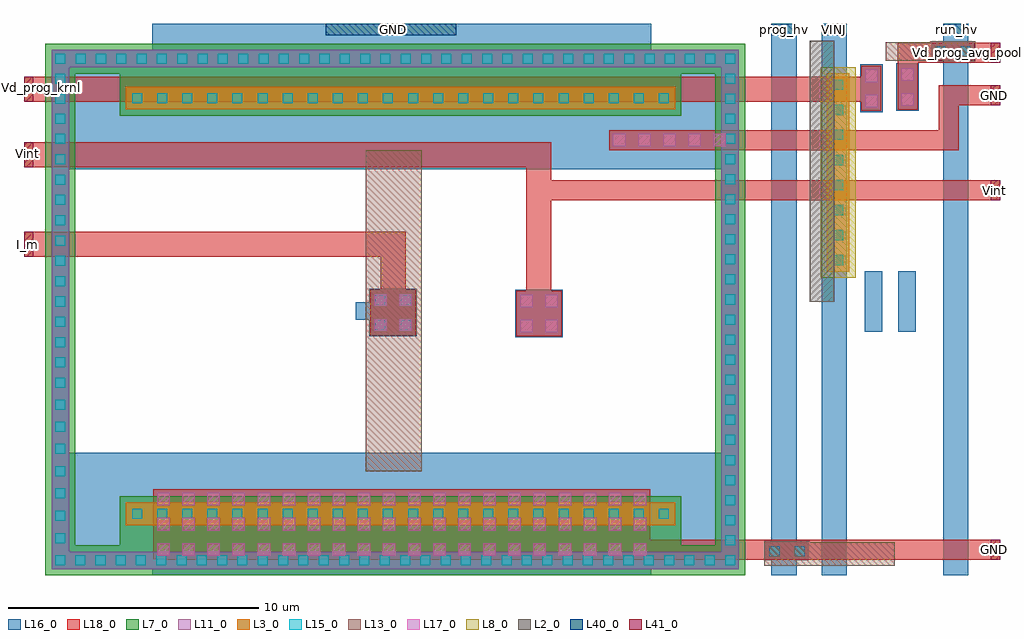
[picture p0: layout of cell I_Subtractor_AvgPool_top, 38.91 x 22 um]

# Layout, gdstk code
from math import pi, radians
import gdstk
lib = gdstk.Library(unit=1e-6, precision=1e-09)
def R(c, l, rs):  # rectangles x0, y0, x1, y1
    for r in rs: c.add(gdstk.rectangle(r[:2], r[2:], *l))
def A(c, l, x, y, w, h, nx, ny, dx, dy):  # array of equal rectangles
    R(c, l, [(x+i*dx, y+j*dy, x+i*dx+w, y+j*dy+h) for i in range(nx) for j in range(ny)])
L2_0 = (2, 0)
L3_0 = (3, 0)
L7_0 = (7, 0)
L8_0 = (8, 0)
L11_0 = (11, 0)
L13_0 = (13, 0)
L15_0 = (15, 0)
L16_0 = (16, 0)
L17_0 = (17, 0)
L18_0 = (18, 0)
L40_0 = (40, 0)
L41_0 = (41, 0)

m1_poly1_cdns_7618696311 = lib.new_cell('M1_POLY1_CDNS_761869631140')
R(m1_poly1_cdns_7618696311, L13_0, [(-0.9,-0.9,0.9,0.9)])
R(m1_poly1_cdns_7618696311, L15_0, [(-0.7,-0.7,-0.3,-0.3), (0.3,-0.7,0.7,-0.3), (-0.7,0.3,-0.3,0.7), (0.3,0.3,0.7,0.7)])
R(m1_poly1_cdns_7618696311, L16_0, [(-0.85,-0.85,0.85,0.85)])

m2_m1_cdns_761869631141 = lib.new_cell('M2_M1_CDNS_761869631141')
R(m2_m1_cdns_761869631141, L16_0, [(-0.95,-0.95,0.95,0.95)])
R(m2_m1_cdns_761869631141, L17_0, [(-0.75,-0.75,-0.25,-0.25), (0.25,-0.75,0.75,-0.25), (-0.75,0.25,-0.25,0.75), (0.25,0.25,0.75,0.75)])
R(m2_m1_cdns_761869631141, L18_0, [(-0.9,-0.9,0.9,0.9)])

c_m1_poly1_cdns_7618696311 = lib.new_cell('M1_POLY1_CDNS_761869631142')
R(c_m1_poly1_cdns_7618696311, L13_0, [(-0.9,-0.4,0.9,0.4)])
R(c_m1_poly1_cdns_7618696311, L15_0, [(-0.7,-0.2,-0.3,0.2), (0.3,-0.2,0.7,0.2)])
R(c_m1_poly1_cdns_7618696311, L16_0, [(-0.85,-0.35,0.85,0.35)])

m1_pactive_cdns_76186963 = lib.new_cell('M1_PACTIVE_CDNS_761869631143')
R(m1_pactive_cdns_76186963, L3_0, [(-10.95,-0.45,10.95,0.45)])
R(m1_pactive_cdns_76186963, L7_0, [(-11.2,-0.7,11.2,0.7)])
A(m1_pactive_cdns_76186963, L15_0, -10.7, -0.2, 0.4, 0.4, 22, 1, 1, 0)
R(m1_pactive_cdns_76186963, L16_0, [(-10.85,-0.35,10.85,0.35)])

m2_m1_cdns_761869631144 = lib.new_cell('M2_M1_CDNS_761869631144')
R(m2_m1_cdns_761869631144, L16_0, [(-0.45,-0.95,0.45,0.95)])
R(m2_m1_cdns_761869631144, L17_0, [(-0.25,-0.75,0.25,-0.25), (-0.25,0.25,0.25,0.75)])
R(m2_m1_cdns_761869631144, L18_0, [(-0.4,-0.9,0.4,0.9)])

m1_nactive_cdns_76186963 = lib.new_cell('M1_NACTIVE_CDNS_761869631145')
R(m1_nactive_cdns_76186963, L3_0, [(-0.45,-3.95,0.45,3.95)])
R(m1_nactive_cdns_76186963, L8_0, [(-0.7,-4.2,0.7,4.2)])
A(m1_nactive_cdns_76186963, L15_0, -0.2, -3.7, 0.4, 0.4, 1, 8, 0, 1)
R(m1_nactive_cdns_76186963, L16_0, [(-0.35,-3.85,0.35,3.85)])

m2_m1_cdns_761869631146 = lib.new_cell('M2_M1_CDNS_761869631146')
R(m2_m1_cdns_761869631146, L16_0, [(-2.45,-0.45,2.45,0.45)])
A(m2_m1_cdns_761869631146, L17_0, -2.25, -0.25, 0.5, 0.5, 5, 1, 1, 0)
R(m2_m1_cdns_761869631146, L18_0, [(-2.4,-0.4,2.4,0.4)])

m2_m1_cdns_761869631147 = lib.new_cell('M2_M1_CDNS_761869631147')
R(m2_m1_cdns_761869631147, L16_0, [(-9.95,-1.45,9.95,1.45)])
A(m2_m1_cdns_761869631147, L17_0, -9.75, -1.25, 0.5, 0.5, 20, 3, 1, 1)
R(m2_m1_cdns_761869631147, L18_0, [(-9.9,-1.4,9.9,1.4)])

i_subtractor_avgpool_top = lib.new_cell('I_Subtractor_AvgPool_top')
R(i_subtractor_avgpool_top, L2_0, [(31.32,10.92,32.31,21.32)])
R(i_subtractor_avgpool_top, L7_0, [(3.81,1.2,26.21,1.76), (3.81,19.73,26.21,20), (3.81,19.73,26.21,20)])
R(i_subtractor_avgpool_top, L13_0, [(29.52,0.38,34.71,1.32), (13.63,4.15,14.82,16.95), (14.82,4.15,15.85,16.95), (34.36,20.52,37.78,21.25)])
R(i_subtractor_avgpool_top, L15_0, [(1.25,0.4,1.65,0.8), (1.25,0.4,1.65,0.8), (2.05,0.4,2.45,0.8), (2.05,0.4,2.45,0.8), (2.85,0.4,3.25,0.8), (2.85,0.4,3.25,0.8), (3.65,0.4,4.05,0.8), (3.65,0.4,4.05,0.8), (4.46,0.4,4.86,0.8), (4.46,0.4,4.86,0.8), (5.27,0.4,5.67,0.8), (5.27,0.4,5.67,0.8), (6.08,0.4,6.48,0.8), (6.08,0.4,6.48,0.8), (6.89,0.4,7.29,0.8), (6.89,0.4,7.29,0.8), (7.7,0.4,8.1,0.8), (7.7,0.4,8.1,0.8), (8.51,0.4,8.91,0.8), (8.51,0.4,8.91,0.8), (9.32,0.4,9.72,0.8), (9.32,0.4,9.72,0.8), (10.13,0.4,10.53,0.8), (10.13,0.4,10.53,0.8), (10.94,0.4,11.34,0.8), (10.94,0.4,11.34,0.8), (11.75,0.4,12.15,0.8), (11.75,0.4,12.15,0.8), (12.56,0.4,12.96,0.8), (12.56,0.4,12.96,0.8), (13.37,0.4,13.77,0.8), (13.37,0.4,13.77,0.8), (14.18,0.4,14.58,0.8), (14.18,0.4,14.58,0.8), (14.99,0.4,15.39,0.8), (14.99,0.4,15.39,0.8), (15.8,0.4,16.2,0.8), (15.8,0.4,16.2,0.8), (16.61,0.4,17.01,0.8), (16.61,0.4,17.01,0.8), (17.42,0.4,17.82,0.8), (17.42,0.4,17.82,0.8), (18.23,0.4,18.63,0.8), (18.23,0.4,18.63,0.8), (19.04,0.4,19.44,0.8), (19.04,0.4,19.44,0.8), (19.85,0.4,20.25,0.8), (19.85,0.4,20.25,0.8), (20.66,0.4,21.06,0.8), (20.66,0.4,21.06,0.8), (21.47,0.4,21.87,0.8), (21.47,0.4,21.87,0.8), (22.28,0.4,22.68,0.8), (22.28,0.4,22.68,0.8), (23.09,0.4,23.49,0.8), (23.09,0.4,23.49,0.8), (23.9,0.4,24.3,0.8), (23.9,0.4,24.3,0.8), (24.71,0.4,25.11,0.8), (24.71,0.4,25.11,0.8), (25.52,0.4,25.92,0.8), (25.52,0.4,25.92,0.8), (26.33,0.4,26.73,0.8), (26.33,0.4,26.73,0.8), (27.14,0.4,27.54,0.8), (27.14,0.4,27.54,0.8), (27.95,0.4,28.35,0.8), (27.95,0.4,28.35,0.8), (27.95,1.2,28.35,1.6), (27.95,1.2,28.35,1.6), (1.25,1.29,1.65,1.69), (1.25,1.29,1.65,1.69), (27.95,2,28.35,2.4), (27.95,2,28.35,2.4), (1.25,2.18,1.65,2.58), (1.25,2.18,1.65,2.58), (27.95,2.8,28.35,3.2), (27.95,2.8,28.35,3.2), (1.25,3.07,1.65,3.47), (1.25,3.07,1.65,3.47), (27.95,3.6,28.35,4), (27.95,3.6,28.35,4), (1.25,3.96,1.65,4.36), (1.25,3.96,1.65,4.36), (27.95,4.4,28.35,4.8), (27.95,4.4,28.35,4.8), (1.25,4.85,1.65,5.25), (1.25,4.85,1.65,5.25), (27.95,5.2,28.35,5.6), (27.95,5.2,28.35,5.6), (1.25,5.73,1.65,6.13), (1.25,5.73,1.65,6.13), (27.95,6,28.35,6.4), (27.95,6,28.35,6.4), (1.25,6.61,1.65,7.01), (1.25,6.61,1.65,7.01), (27.95,6.8,28.35,7.2), (27.95,6.8,28.35,7.2), (1.25,7.49,1.65,7.89), (1.25,7.49,1.65,7.89), (27.95,7.6,28.35,8), (27.95,7.6,28.35,8), (1.25,8.29,1.65,8.69), (1.25,8.29,1.65,8.69), (27.95,8.4,28.35,8.8), (27.95,8.4,28.35,8.8), (1.25,9.1,1.65,9.5), (1.25,9.1,1.65,9.5), (27.95,9.2,28.35,9.6), (27.95,9.2,28.35,9.6), (1.25,9.91,1.65,10.31), (1.25,9.91,1.65,10.31), (27.95,10,28.35,10.4), (27.95,10,28.35,10.4), (1.25,10.72,1.65,11.12), (1.25,10.72,1.65,11.12), (27.95,10.8,28.35,11.2), (27.95,10.8,28.35,11.2), (1.25,11.53,1.65,11.93), (1.25,11.53,1.65,11.93), (27.95,11.6,28.35,12), (27.95,11.6,28.35,12), (1.25,12.34,1.65,12.74), (1.25,12.34,1.65,12.74), (27.95,12.4,28.35,12.8), (27.95,12.4,28.35,12.8), (1.25,13.15,1.65,13.55), (1.25,13.15,1.65,13.55), (27.95,13.2,28.35,13.6), (27.95,13.2,28.35,13.6), (1.25,13.96,1.65,14.36), (1.25,13.96,1.65,14.36), (27.95,14,28.35,14.4), (27.95,14,28.35,14.4), (1.25,14.77,1.65,15.17), (1.25,14.77,1.65,15.17), (27.95,14.8,28.35,15.2), (27.95,14.8,28.35,15.2), (1.25,15.58,1.65,15.98), (1.25,15.58,1.65,15.98), (27.95,15.6,28.35,16), (27.95,15.6,28.35,16), (1.25,16.39,1.65,16.79), (1.25,16.39,1.65,16.79), (27.95,16.4,28.35,16.8), (27.95,16.4,28.35,16.8), (1.25,17.2,1.65,17.6), (1.25,17.2,1.65,17.6), (27.95,17.2,28.35,17.6), (27.95,17.2,28.35,17.6), (1.25,18,1.65,18.4), (1.25,18,1.65,18.4), (27.95,18,28.35,18.4), (27.95,18,28.35,18.4), (1.25,18.8,1.65,19.2), (1.25,18.8,1.65,19.2), (27.95,18.8,28.35,19.2), (27.95,18.8,28.35,19.2), (1.25,19.6,1.65,20), (1.25,19.6,1.65,20), (27.95,19.6,28.35,20), (27.95,19.6,28.35,20), (1.25,20.4,1.65,20.8), (1.25,20.4,1.65,20.8), (2.06,20.4,2.46,20.8), (2.06,20.4,2.46,20.8), (2.87,20.4,3.27,20.8), (2.87,20.4,3.27,20.8), (3.68,20.4,4.08,20.8), (3.68,20.4,4.08,20.8), (4.49,20.4,4.89,20.8), (4.49,20.4,4.89,20.8), (5.3,20.4,5.7,20.8), (5.3,20.4,5.7,20.8), (6.11,20.4,6.51,20.8), (6.11,20.4,6.51,20.8), (6.92,20.4,7.32,20.8), (6.92,20.4,7.32,20.8), (7.73,20.4,8.13,20.8), (7.73,20.4,8.13,20.8), (8.54,20.4,8.94,20.8), (8.54,20.4,8.94,20.8), (9.35,20.4,9.75,20.8), (9.35,20.4,9.75,20.8), (10.16,20.4,10.56,20.8), (10.16,20.4,10.56,20.8), (10.97,20.4,11.37,20.8), (10.97,20.4,11.37,20.8), (11.78,20.4,12.18,20.8), (11.78,20.4,12.18,20.8), (12.59,20.4,12.99,20.8), (12.59,20.4,12.99,20.8), (13.4,20.4,13.8,20.8), (13.4,20.4,13.8,20.8), (14.21,20.4,14.61,20.8), (14.21,20.4,14.61,20.8), (15.02,20.4,15.42,20.8), (15.02,20.4,15.42,20.8), (15.83,20.4,16.23,20.8), (15.83,20.4,16.23,20.8), (16.64,20.4,17.04,20.8), (16.64,20.4,17.04,20.8), (17.45,20.4,17.85,20.8), (17.45,20.4,17.85,20.8), (18.26,20.4,18.66,20.8), (18.26,20.4,18.66,20.8), (19.07,20.4,19.47,20.8), (19.07,20.4,19.47,20.8), (19.88,20.4,20.28,20.8), (19.88,20.4,20.28,20.8), (20.69,20.4,21.09,20.8), (20.69,20.4,21.09,20.8), (21.5,20.4,21.9,20.8), (21.5,20.4,21.9,20.8), (22.31,20.4,22.71,20.8), (22.31,20.4,22.71,20.8), (23.12,20.4,23.52,20.8), (23.12,20.4,23.52,20.8), (23.93,20.4,24.33,20.8), (23.93,20.4,24.33,20.8), (24.74,20.4,25.14,20.8), (24.74,20.4,25.14,20.8), (25.55,20.4,25.95,20.8), (25.55,20.4,25.95,20.8), (26.35,20.4,26.75,20.8), (26.35,20.4,26.75,20.8), (27.15,20.4,27.55,20.8), (27.15,20.4,27.55,20.8), (27.95,20.4,28.35,20.8), (27.95,20.4,28.35,20.8)])
R(i_subtractor_avgpool_top, L16_0, [(5.11,0,25.01,1.08), (1.51,0.94,28.01,4.9), (1.51,16.2,28.01,20.55), (5.11,19.15,25.01,22)])
R(i_subtractor_avgpool_top, L40_0, [(12.02,21.54,17.24,22), (29.8,21.54,30.8,22), (31.8,21.54,32.8,22), (36.65,21.54,37.65,22)])
R(i_subtractor_avgpool_top, L41_0, [(38.54,0.63,38.91,1.43), (0,12.7,0.37,13.7), (38.54,14.95,38.91,15.75), (0,16.27,0.37,17.27), (38.54,18.74,38.91,19.54), (0,18.88,0.37,19.88), (38.54,20.43,38.91,21.23)])
i_subtractor_avgpool_top.add(gdstk.FlexPath([(33.86,12.12),(33.86,9.71)], 0.7, ends="flush", simple_path=True, layer=16, datatype=0))  # L16_0
i_subtractor_avgpool_top.add(gdstk.FlexPath([(35.21,12.12),(35.21,9.71)], 0.7, ends="flush", simple_path=True, layer=16, datatype=0))  # L16_0
i_subtractor_avgpool_top.add(gdstk.FlexPath([(1.45,8.09),(1.45,20.6),(28.15,20.6),(28.15,0.6),(1.45,0.6),(1.45,8.09)], 0.7, ends="flush", simple_path=True, layer=16, datatype=0))  # L16_0
i_subtractor_avgpool_top.add(gdstk.FlexPath([(32.3,22),(32.3,0)], 1, ends="flush", simple_path=True, layer=16, datatype=0))  # L16_0
i_subtractor_avgpool_top.add(gdstk.FlexPath([(30.3,22),(30.3,0)], 1, ends="flush", simple_path=True, layer=16, datatype=0))  # L16_0
i_subtractor_avgpool_top.add(gdstk.FlexPath([(37.15,22),(37.15,0)], 1, ends="flush", simple_path=True, layer=16, datatype=0))  # L16_0
i_subtractor_avgpool_top.add(gdstk.FlexPath([(13.23,10.55),(13.99,10.55)], 0.7, ends="flush", simple_path=True, layer=16, datatype=0))  # L16_0
i_subtractor_avgpool_top.add(gdstk.FlexPath([(38.91,20.83),(35.23,20.83)], 0.8, ends=(0, 0.4), simple_path=True, layer=18, datatype=0))  # L18_0
i_subtractor_avgpool_top.add(gdstk.FlexPath([(14.72,13.2),(14.72,10.61)], 1, ends=(0.5, 0), simple_path=True, layer=18, datatype=0))  # L18_0
i_subtractor_avgpool_top.add(gdstk.FlexPath([(0,13.2),(14.72,13.2)], 1, ends=(0, 0.5), simple_path=True, layer=18, datatype=0))  # L18_0
i_subtractor_avgpool_top.add(gdstk.FlexPath([(0,19.38),(34.18,19.38)], 1, ends="flush", simple_path=True, layer=18, datatype=0))  # L18_0
i_subtractor_avgpool_top.add(gdstk.FlexPath([(38.91,15.35),(20.52,15.35)], 0.8, ends=(0, 0.5), simple_path=True, layer=18, datatype=0))  # L18_0
i_subtractor_avgpool_top.add(gdstk.FlexPath([(20.52,15.35),(20.52,10.85)], 1, ends=(0.4, 0), simple_path=True, layer=18, datatype=0))  # L18_0
i_subtractor_avgpool_top.add(gdstk.FlexPath([(20.52,16.77),(20.52,15.35)], 1, ends=(0.5, 0.4), simple_path=True, layer=18, datatype=0))  # L18_0
i_subtractor_avgpool_top.add(gdstk.FlexPath([(0,16.77),(20.52,16.77)], 1, ends=(0, 0.5), simple_path=True, layer=18, datatype=0))  # L18_0
i_subtractor_avgpool_top.add(gdstk.FlexPath([(38.91,1.03),(5.36,1.03)], 0.8, ends="flush", simple_path=True, layer=18, datatype=0))  # L18_0
i_subtractor_avgpool_top.add(gdstk.FlexPath([(38.91,19.14),(36.87,19.14)], 0.8, ends=(0, 0.4), simple_path=True, layer=18, datatype=0))  # L18_0
i_subtractor_avgpool_top.add(gdstk.FlexPath([(36.87,19.14),(36.87,17.35)], 0.8, ends="extended", simple_path=True, layer=18, datatype=0))  # L18_0
i_subtractor_avgpool_top.add(gdstk.FlexPath([(35.23,20.83),(35.23,19.81)], 0.8, ends=(0.4, 0), simple_path=True, layer=18, datatype=0))  # L18_0
i_subtractor_avgpool_top.add(gdstk.FlexPath([(36.87,17.35),(23.33,17.35)], 0.8, ends=(0.4, 0), simple_path=True, layer=18, datatype=0))  # L18_0
i_subtractor_avgpool_top.add(gdstk.FlexPath([(1.45,8.09),(1.45,20.6),(28.15,20.6),(28.15,0.6),(1.45,0.6),(1.45,8.09)], 1.2, ends="flush", simple_path=True, layer=7, datatype=0))  # L7_0
i_subtractor_avgpool_top.add(gdstk.FlexPath([(1.45,8.09),(1.45,20.6),(28.15,20.6),(28.15,0.6),(1.45,0.6),(1.45,8.09)], 0.7, ends="flush", simple_path=True, layer=11, datatype=0))  # L11_0
i_subtractor_avgpool_top.add(gdstk.Reference(m1_poly1_cdns_7618696311, (14.71,10.48)))
i_subtractor_avgpool_top.add(gdstk.Reference(m2_m1_cdns_761869631141, (14.71,10.48)))
i_subtractor_avgpool_top.add(gdstk.Reference(m2_m1_cdns_761869631141, (20.53,10.44)))
i_subtractor_avgpool_top.add(gdstk.Reference(c_m1_poly1_cdns_7618696311, (37.03,20.89), rotation=pi, x_reflection=True))
i_subtractor_avgpool_top.add(gdstk.Reference(c_m1_poly1_cdns_7618696311, (30.42,0.96)))
i_subtractor_avgpool_top.add(gdstk.Reference(m1_pactive_cdns_76186963, (15.01,19.03)))
i_subtractor_avgpool_top.add(gdstk.Reference(m1_pactive_cdns_76186963, (15.01,2.46), x_reflection=True))
i_subtractor_avgpool_top.add(gdstk.Reference(m2_m1_cdns_761869631144, (35.23,19.47)))
i_subtractor_avgpool_top.add(gdstk.Reference(m2_m1_cdns_761869631144, (33.78,19.42)))
i_subtractor_avgpool_top.add(gdstk.Reference(m1_nactive_cdns_76186963, (32.46,16.06)))
i_subtractor_avgpool_top.add(gdstk.Reference(m2_m1_cdns_761869631146, (25.73,17.35)))
i_subtractor_avgpool_top.add(gdstk.Reference(m2_m1_cdns_761869631147, (15.06,2.04)))
i_subtractor_avgpool_top.add(gdstk.Label('I_m', (0.15,13.18), layer=41, texttype=0))
i_subtractor_avgpool_top.add(gdstk.Label('Vd_prog_krnl', (0.15,19.45), layer=41, texttype=0))
i_subtractor_avgpool_top.add(gdstk.Label('Vd_prog_avg_pool', (38.69,20.84), layer=41, texttype=0))
i_subtractor_avgpool_top.add(gdstk.Label('Vint', (38.69,15.35), layer=41, texttype=0))
i_subtractor_avgpool_top.add(gdstk.Label('GND', (38.69,1.03), layer=41, texttype=0))
i_subtractor_avgpool_top.add(gdstk.Label('GND', (38.69,19.15), layer=41, texttype=0))
i_subtractor_avgpool_top.add(gdstk.Label('Vint', (0.15,16.84), layer=41, texttype=0))
i_subtractor_avgpool_top.add(gdstk.Label('run_hv', (37.16,21.76), layer=40, texttype=0))
i_subtractor_avgpool_top.add(gdstk.Label('VINJ', (32.31,21.76), layer=40, texttype=0))
i_subtractor_avgpool_top.add(gdstk.Label('prog_hv', (30.31,21.76), layer=40, texttype=0))
i_subtractor_avgpool_top.add(gdstk.Label('GND', (14.73,21.76), layer=40, texttype=0))

lib.write_gds('I_Subtractor_AvgPool_top.gds')
